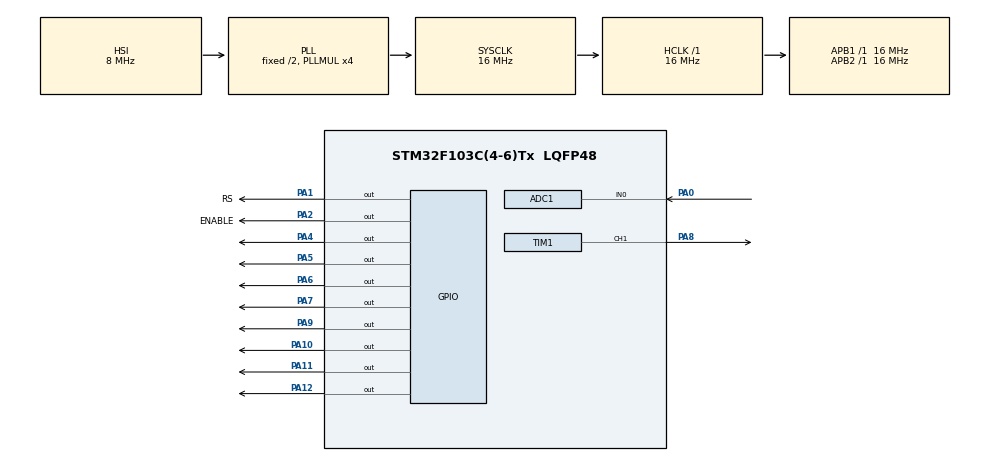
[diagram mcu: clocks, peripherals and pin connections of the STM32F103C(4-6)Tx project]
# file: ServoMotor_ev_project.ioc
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ADC1.Channel-0\#ChannelRegularConversion=ADC_CHANNEL_0
ADC1.NbrOfConversionFlag=1
ADC1.Rank-0\#ChannelRegularConversion=1
ADC1.SamplingTime-0\#ChannelRegularConversion=ADC_SAMPLETIME_1CYCLE_5
ADC1.master=1
Mcu.Family=STM32F1
Mcu.Name=STM32F103C(4-6)Tx
Mcu.Package=LQFP48
NVIC.PriorityGroup=NVIC_PRIORITYGROUP_4
PA0-WKUP.Signal=ADCx_IN0
PA1.GPIO_Label=RS
PA1.Signal=GPIO_Output
PA10.Signal=GPIO_Output
PA11.Signal=GPIO_Output
PA12.Signal=GPIO_Output
PA2.GPIO_Label=ENABLE
PA2.Signal=GPIO_Output
PA4.Signal=GPIO_Output
PA5.Signal=GPIO_Output
PA6.Signal=GPIO_Output
PA7.Signal=GPIO_Output
PA8.Signal=S_TIM1_CH1
PA9.Signal=GPIO_Output
PD0-OSC_IN.Mode=HSE-External-Oscillator
PD0-OSC_IN.Signal=RCC_OSC_IN
PD1-OSC_OUT.Mode=HSE-External-Oscillator
PD1-OSC_OUT.Signal=RCC_OSC_OUT
ProjectManager.HeapSize=0x200
ProjectManager.StackSize=0x400
ProjectManager.TargetToolchain=STM32CubeIDE
RCC.AHBFreq_Value=16000000
RCC.APB1Freq_Value=16000000
RCC.APB1TimFreq_Value=16000000
RCC.APB2Freq_Value=16000000
RCC.APB2TimFreq_Value=16000000
RCC.HCLKFreq_Value=16000000
RCC.PLLMUL=RCC_PLL_MUL4
RCC.SYSCLKFreq_VALUE=16000000
RCC.SYSCLKSource=RCC_SYSCLKSOURCE_PLLCLK
RCC.USBFreq_Value=16000000
SH.ADCx_IN0.0=ADC1_IN0,IN0
SH.S_TIM1_CH1.0=TIM1_CH1,PWM Generation1 CH1
TIM1.Channel-PWM\ Generation1\ CH1=TIM_CHANNEL_1
TIM1.Prescaler=71
VP_SYS_VS_ND.Mode=No_Debug
VP_TIM1_VS_ClockSourceINT.Mode=Internal
board=custom

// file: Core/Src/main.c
/* USER CODE BEGIN Header */
/**
  ******************************************************************************
  * @file           : main.c
  * @brief          : Main program body
  ******************************************************************************
  * @attention
  *
  * Copyright (c) 2025 STMicroelectronics.
  * All rights reserved.
  *
  * This software is licensed under terms that can be found in the LICENSE file
  * in the root directory of this software component.
  * If no LICENSE file comes with this software, it is provided AS-IS.
  *
  ******************************************************************************
  */
/* USER CODE END Header */
#include "main.h"

ADC_HandleTypeDef hadc1;

TIM_HandleTypeDef htim1;

void SystemClock_Config(void);
static void MX_GPIO_Init(void);
static void MX_ADC1_Init(void);
static void MX_TIM1_Init(void);
/* USER CODE BEGIN PFP */

/* --- CORRECTED ---
 * Added function prototypes here so main() knows about them
 */
void LCD_init(void);
void LCD(uint8_t val_1,uint8_t cmd);
void set_servo(uint16_t t_val);

/* USER CODE END PFP */

int main(void)
{

  /* MCU Configuration--------------------------------------------------------*/

  /* Reset of all peripherals, Initializes the Flash interface and the Systick. */
  HAL_Init();

  /* Configure the system clock */
  SystemClock_Config();

  /* Initialize all configured peripherals */
  MX_GPIO_Init();
  MX_ADC1_Init();
  MX_TIM1_Init();
  /* USER CODE BEGIN 2 */

  HAL_TIM_PWM_Start(&htim1, TIM_CHANNEL_1);

  __HAL_TIM_SET_COMPARE(&htim1, TIM_CHANNEL_1, 1500);

LCD_init();

LCD(0X80,0);
LCD('A',1);
LCD('N',1);
LCD('G',1);
LCD('L',1);
LCD('E',1);
LCD(':',1);

HAL_TIM_PWM_Start(&htim1, TIM_CHANNEL_1);

TIM1->CR1 &= 0xFFFE;
TIM1->PSC = 16-1;
TIM1->ARR = 2000-1;
TIM1->PSC = 16-1;
TIM1->CCR1 = 17999;
TIM1->CR1 = 0x1;

uint32_t ADC_val = 0;

/* --- CORRECTED ---
 * The function definitions that were here have been
 * moved outside of main() to the USER CODE 4 section below.
 */

  /* USER CODE END 2 */

  /* Infinite loop */
  while (1)
  {

    /* USER CODE BEGIN 3 */
      HAL_ADC_Start(&hadc1);
      HAL_ADC_PollForConversion(&hadc1, 100);
      ADC_val= HAL_ADC_GetValue(&hadc1);
      HAL_ADC_Stop(&hadc1);

      set_servo(ADC_val);

  }
  /* USER CODE END 3 */
}

void SystemClock_Config(void)
{
  RCC_OscInitTypeDef RCC_OscInitStruct = {0};
  RCC_ClkInitTypeDef RCC_ClkInitStruct = {0};
  RCC_PeriphCLKInitTypeDef PeriphClkInit = {0};

  /** Initializes the RCC Oscillators according to the specified parameters
  * in the RCC_OscInitTypeDef structure.
  */
  RCC_OscInitStruct.OscillatorType = RCC_OSCILLATORTYPE_HSI;
  RCC_OscInitStruct.HSIState = RCC_HSI_ON;
  RCC_OscInitStruct.HSICalibrationValue = RCC_HSICALIBRATION_DEFAULT;
  RCC_OscInitStruct.PLL.PLLState = RCC_PLL_ON;
  RCC_OscInitStruct.PLL.PLLSource = RCC_PLLSOURCE_HSI_DIV2;
  RCC_OscInitStruct.PLL.PLLMUL = RCC_PLL_MUL4;
  if (HAL_RCC_OscConfig(&RCC_OscInitStruct) != HAL_OK)
  {
    Error_Handler();
  }

  /** Initializes the CPU, AHB and APB buses clocks
  */
  RCC_ClkInitStruct.ClockType = RCC_CLOCKTYPE_HCLK|RCC_CLOCKTYPE_SYSCLK
                              |RCC_CLOCKTYPE_PCLK1|RCC_CLOCKTYPE_PCLK2;
  RCC_ClkInitStruct.SYSCLKSource = RCC_SYSCLKSOURCE_PLLCLK;
  RCC_ClkInitStruct.AHBCLKDivider = RCC_SYSCLK_DIV1;
  RCC_ClkInitStruct.APB1CLKDivider = RCC_HCLK_DIV1;
  RCC_ClkInitStruct.APB2CLKDivider = RCC_HCLK_DIV1;

  if (HAL_RCC_ClockConfig(&RCC_ClkInitStruct, FLASH_LATENCY_0) != HAL_OK)
  {
    Error_Handler();
  }
  PeriphClkInit.PeriphClockSelection = RCC_PERIPHCLK_ADC;
  PeriphClkInit.AdcClockSelection = RCC_ADCPCLK2_DIV2;
  if (HAL_RCCEx_PeriphCLKConfig(&PeriphClkInit) != HAL_OK)
  {
    Error_Handler();
  }
}

static void MX_ADC1_Init(void)
{

  ADC_ChannelConfTypeDef sConfig = {0};

  /** Common config
  */
  hadc1.Instance = ADC1;
  hadc1.Init.ScanConvMode = ADC_SCAN_DISABLE;
  hadc1.Init.ContinuousConvMode = DISABLE;
  hadc1.Init.DiscontinuousConvMode = DISABLE;
  hadc1.Init.ExternalTrigConv = ADC_SOFTWARE_START;
  hadc1.Init.DataAlign = ADC_DATAALIGN_RIGHT;
  hadc1.Init.NbrOfConversion = 1;
  if (HAL_ADC_Init(&hadc1) != HAL_OK)
  {
    Error_Handler();
  }

  /** Configure Regular Channel
  */
  sConfig.Channel = ADC_CHANNEL_0;
  sConfig.Rank = ADC_REGULAR_RANK_1;
  sConfig.SamplingTime = ADC_SAMPLETIME_1CYCLE_5;
  if (HAL_ADC_ConfigChannel(&hadc1, &sConfig) != HAL_OK)
  {
    Error_Handler();
  }

}

static void MX_TIM1_Init(void)
{

  TIM_ClockConfigTypeDef sClockSourceConfig = {0};
  TIM_MasterConfigTypeDef sMasterConfig = {0};
  TIM_OC_InitTypeDef sConfigOC = {0};
  TIM_BreakDeadTimeConfigTypeDef sBreakDeadTimeConfig = {0};

  htim1.Instance = TIM1;
  htim1.Init.Prescaler = 71;
  htim1.Init.CounterMode = TIM_COUNTERMODE_UP;
  htim1.Init.Period = 65535;
  htim1.Init.ClockDivision = TIM_CLOCKDIVISION_DIV1;
  htim1.Init.RepetitionCounter = 0;
  htim1.Init.AutoReloadPreload = TIM_AUTORELOAD_PRELOAD_DISABLE;
  if (HAL_TIM_Base_Init(&htim1) != HAL_OK)
  {
    Error_Handler();
  }
  sClockSourceConfig.ClockSource = TIM_CLOCKSOURCE_INTERNAL;
  if (HAL_TIM_ConfigClockSource(&htim1, &sClockSourceConfig) != HAL_OK)
  {
    Error_Handler();
  }
  if (HAL_TIM_PWM_Init(&htim1) != HAL_OK)
  {
    Error_Handler();
  }
  sMasterConfig.MasterOutputTrigger = TIM_TRGO_RESET;
  sMasterConfig.MasterSlaveMode = TIM_MASTERSLAVEMODE_DISABLE;
  if (HAL_TIMEx_MasterConfigSynchronization(&htim1, &sMasterConfig) != HAL_OK)
  {
    Error_Handler();
  }
  sConfigOC.OCMode = TIM_OCMODE_PWM1;
  sConfigOC.Pulse = 0;
  sConfigOC.OCPolarity = TIM_OCPOLARITY_HIGH;
  sConfigOC.OCNPolarity = TIM_OCNPOLARITY_HIGH;
  sConfigOC.OCFastMode = TIM_OCFAST_DISABLE;
  sConfigOC.OCIdleState = TIM_OCIDLESTATE_RESET;
  sConfigOC.OCNIdleState = TIM_OCNIDLESTATE_RESET;
  if (HAL_TIM_PWM_ConfigChannel(&htim1, &sConfigOC, TIM_CHANNEL_1) != HAL_OK)
  {
    Error_Handler();
  }
  sBreakDeadTimeConfig.OffStateRunMode = TIM_OSSR_DISABLE;
  sBreakDeadTimeConfig.OffStateIDLEMode = TIM_OSSI_DISABLE;
  sBreakDeadTimeConfig.LockLevel = TIM_LOCKLEVEL_OFF;
  sBreakDeadTimeConfig.DeadTime = 0;
  sBreakDeadTimeConfig.BreakState = TIM_BREAK_DISABLE;
  sBreakDeadTimeConfig.BreakPolarity = TIM_BREAKPOLARITY_HIGH;
  sBreakDeadTimeConfig.AutomaticOutput = TIM_AUTOMATICOUTPUT_DISABLE;
  if (HAL_TIMEx_ConfigBreakDeadTime(&htim1, &sBreakDeadTimeConfig) != HAL_OK)
  {
    Error_Handler();
  }
  HAL_TIM_MspPostInit(&htim1);

}

static void MX_GPIO_Init(void)
{
  GPIO_InitTypeDef GPIO_InitStruct = {0};

  /* GPIO Ports Clock Enable */
  __HAL_RCC_GPIOD_CLK_ENABLE();
  __HAL_RCC_GPIOA_CLK_ENABLE();

  /*Configure GPIO pin Output Level */
  HAL_GPIO_WritePin(GPIOA, RS_Pin|ENABLE_Pin|GPIO_PIN_4|GPIO_PIN_5
                          |GPIO_PIN_6|GPIO_PIN_7|GPIO_PIN_9|GPIO_PIN_10
                          |GPIO_PIN_11|GPIO_PIN_12, GPIO_PIN_RESET);

  /*Configure GPIO pins : RS_Pin ENABLE_Pin PA4 PA5
                           PA6 PA7 PA9 PA10
                           PA11 PA12 */
  GPIO_InitStruct.Pin = RS_Pin|ENABLE_Pin|GPIO_PIN_4|GPIO_PIN_5
                          |GPIO_PIN_6|GPIO_PIN_7|GPIO_PIN_9|GPIO_PIN_10
                          |GPIO_PIN_11|GPIO_PIN_12;
  GPIO_InitStruct.Mode = GPIO_MODE_OUTPUT_PP;
  GPIO_InitStruct.Pull = GPIO_NOPULL;
  GPIO_InitStruct.Speed = GPIO_SPEED_FREQ_LOW;
  HAL_GPIO_Init(GPIOA, &GPIO_InitStruct);

}

/* USER CODE BEGIN 4 */

/* --- CORRECTED ---
 * All these functions were moved from inside main() to here.
 */

void set_servo(uint16_t t_val)
{
	uint32_t dummy_var;
	uint8_t l_val;

	/* --- CORRECTED --- (was val_1) */
	dummy_var = (4395.6*t_val)/100000;
	dummy_var = (5555.56*dummy_var)/1000;
	dummy_var = 10000 - dummy_var;

	TIM1->CR1 &= 0xFFFE;
	TIM1->CCR1 = dummy_var;
	TIM1->CR1 |= 0x1;

	LCD(0x87,0);

	/* --- CORRECTED --- (was val_1) */
	dummy_var = (10000*t_val)/4096;

	l_val = dummy_var / 10000;
	LCD(l_val+48,1);
	l_val = (dummy_var/1000)%10;
	LCD(l_val+48,1);
	l_val = (dummy_var/100)%10;
	LCD(l_val+48,1);
	LCD('.',1);
	l_val = (dummy_var/10)%10;
	LCD(l_val+48,1);
	l_val = (dummy_var%10);
	LCD(l_val+48,1);

}

void LCD_init(void)
{
    LCD(0x38,0);
    LCD(0x0E,0);
    LCD(0x06,0);
    LCD(0x01,0);
    LCD(0x80,0);
}

void LCD(uint8_t val_1,uint8_t cmd)
{
	uint8_t data;

	HAL_GPIO_WritePin(GPIOA, GPIO_PIN_1, cmd);     //set RS = (cmd=0) => Command; (cmd=1) => Data

	/* --- CORRECTED --- (was data1) */
	data = (val_1) & 0x01;
	HAL_GPIO_WritePin(GPIOA, GPIO_PIN_4, data);    //mask bit and assign it to GPIO 0

	/* --- CORRECTED --- (was data1) */
	data = (val_1>>1) & 0x01;
	HAL_GPIO_WritePin(GPIOA, GPIO_PIN_5, data);    //mask bit and assign it to GPIO 1

	/* --- CORRECTED --- (was data1) */
	data = (val_1>>2) & 0x01;
	HAL_GPIO_WritePin(GPIOA, GPIO_PIN_6, data);    //mask bit and assign it to GPIO 2

	/* --- CORRECTED --- (was data1) */
	data = (val_1>>3) & 0x01;
	HAL_GPIO_WritePin(GPIOA, GPIO_PIN_7, data);    //mask bit and assign it to GPIO 3

	/* --- CORRECTED --- (was data1) */
	data = (val_1>>4) & 0x01;
	HAL_GPIO_WritePin(GPIOA, GPIO_PIN_9, data);    //mask bit and assign it to GPIO 4

	/* --- CORRECTED --- (was data1) */
	data = (val_1>>5) & 0x01;
	HAL_GPIO_WritePin(GPIOA, GPIO_PIN_10, data);

	/* --- CORRECTED --- (was data1) */
	data = (val_1>>6) & 0x01;
	HAL_GPIO_WritePin(GPIOA, GPIO_PIN_11, data);

	/* --- CORRECTED --- (was data1) */
	data = (val_1>>7) & 0x01;
	HAL_GPIO_WritePin(GPIOA, GPIO_PIN_12, data);

	  HAL_GPIO_WritePin(GPIOA, GPIO_PIN_2, GPIO_PIN_SET);
	  HAL_Delay(1);
	  HAL_GPIO_WritePin(GPIOA, GPIO_PIN_2, GPIO_PIN_RESET);
	  HAL_Delay(5);
//mask bit and assign it to GPIO 5
}
/* USER CODE END 4 */

void Error_Handler(void)
{
  __disable_irq();
  while (1)
  {
  }
}
